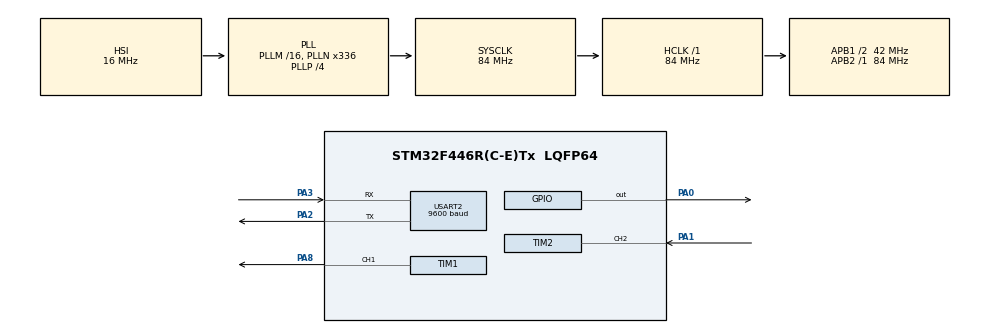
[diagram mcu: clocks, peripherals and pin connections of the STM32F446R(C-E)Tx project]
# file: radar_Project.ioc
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Mcu.Family=STM32F4
Mcu.Name=STM32F446R(C-E)Tx
Mcu.Package=LQFP64
NVIC.PriorityGroup=NVIC_PRIORITYGROUP_0
PA0-WKUP.Signal=GPIO_Output
PA1.Signal=S_TIM2_CH2
PA13.Mode=Serial_Wire
PA13.Signal=SYS_JTMS-SWDIO
PA14.Mode=Serial_Wire
PA14.Signal=SYS_JTCK-SWCLK
PA2.Mode=Asynchronous
PA2.Signal=USART2_TX
PA3.Mode=Asynchronous
PA3.Signal=USART2_RX
PA8.Signal=S_TIM1_CH1
ProjectManager.HeapSize=0x200
ProjectManager.StackSize=0x400
ProjectManager.TargetToolchain=STM32CubeIDE
RCC.48MHZClocksFreq_Value=84000000
RCC.AHBFreq_Value=84000000
RCC.APB1CLKDivider=RCC_HCLK_DIV2
RCC.APB1Freq_Value=42000000
RCC.APB1TimFreq_Value=84000000
RCC.APB2Freq_Value=84000000
RCC.APB2TimFreq_Value=84000000
RCC.CortexFreq_Value=84000000
RCC.FLatency-AdvancedSettings=FLASH_LATENCY_2
RCC.HCLKFreq_Value=84000000
RCC.HSE_VALUE=8000000
RCC.HSI_VALUE=16000000
RCC.PLLN=336
RCC.PLLP=RCC_PLLP_DIV4
RCC.SYSCLKFreq_VALUE=84000000
RCC.SYSCLKSource=RCC_SYSCLKSOURCE_PLLCLK
RCC.USBFreq_Value=168000000
RCC.VCOOutputFreq_Value=336000000
SH.S_TIM1_CH1.0=TIM1_CH1,PWM Generation1 CH1
SH.S_TIM2_CH2.0=TIM2_CH2,Input_Capture2_from_TI2
TIM1.Channel-PWM\ Generation1\ CH1=TIM_CHANNEL_1
TIM1.Period=20000-1
TIM1.Prescaler=84-1
TIM2.Channel-Input_Capture2_from_TI2=TIM_CHANNEL_2
TIM2.Period=20000-1
TIM2.Prescaler=84-1
USART2.BaudRate=9600
USART2.VirtualMode=VM_ASYNC
board=NUCLEO-F446RE

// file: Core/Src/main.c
/* USER CODE BEGIN Header */
/**
  ******************************************************************************
  * @file           : main.c
  * @brief          : Main program body
  ******************************************************************************
  * @attention
  *
  * Copyright (c) 2026 STMicroelectronics.
  * All rights reserved.
  *
  * This software is licensed under terms that can be found in the LICENSE file
  * in the root directory of this software component.
  * If no LICENSE file comes with this software, it is provided AS-IS.
  *
  ******************************************************************************
  */
/* USER CODE END Header */
#include "main.h"

TIM_HandleTypeDef htim1;
TIM_HandleTypeDef htim2;

UART_HandleTypeDef huart2;

void SystemClock_Config(void);
static void MX_GPIO_Init(void);
static void MX_USART2_UART_Init(void);
static void MX_TIM1_Init(void);
static void MX_TIM2_Init(void);
/* USER CODE BEGIN PFP */
// Ultrasonic
#define TRIG_PIN GPIO_PIN_0
#define TRIG_PORT GPIOA

volatile uint32_t echo_start = 0;
volatile uint32_t echo_end = 0;
volatile uint8_t capture_done = 0;

float distance_cm;

// Servo
#define SERVO_TIM htim1
#define SERVO_CHANNEL TIM_CHANNEL_1

uint8_t angle = 15; // start angle
int sweep_direction = 1; // 1: forward, -1: backward

uint32_t angle_to_pwm(uint8_t angle) {
    return 500 + ((uint32_t)angle * 2000 / 180);
}

void trigger_ultrasonic() {
	HAL_GPIO_WritePin(TRIG_PORT, TRIG_PIN, GPIO_PIN_SET);
	    // Delay 10 microseconds
	    for(volatile int i=0; i<30; i++); // crude ~10us delay
	    HAL_GPIO_WritePin(TRIG_PORT, TRIG_PIN, GPIO_PIN_RESET);
}

float calculate_distance(uint32_t duration_us) {
    return (duration_us * 0.034) / 2.0;
}

void send_data(uint8_t angle, float distance) {
    char buffer[30];
    sprintf(buffer, "%d,%.0f.", angle, distance);
    HAL_UART_Transmit(&huart2, (uint8_t*)buffer, strlen(buffer), HAL_MAX_DELAY);
}

/* USER CODE END PFP */

int main(void)
{

  /* MCU Configuration--------------------------------------------------------*/

  /* Reset of all peripherals, Initializes the Flash interface and the Systick. */
  HAL_Init();

  /* Configure the system clock */
  SystemClock_Config();

  /* Initialize all configured peripherals */
  MX_GPIO_Init();
  MX_USART2_UART_Init();
  MX_TIM1_Init();
  MX_TIM2_Init();
  /* USER CODE BEGIN 2 */
  HAL_TIM_PWM_Start(&SERVO_TIM, SERVO_CHANNEL);
  HAL_TIM_IC_Start_IT(&htim2, TIM_CHANNEL_2);

  /* USER CODE END 2 */

  /* Infinite loop */
  while (1)
  {

    /* USER CODE BEGIN 3 */
 printf("jjs");
	      // 1. Move servo
	      __HAL_TIM_SET_COMPARE(&SERVO_TIM, SERVO_CHANNEL, angle_to_pwm(angle));

	      // 2. Trigger Ultrasonic
	      trigger_ultrasonic();

	      HAL_Delay(30);

	      // Wait until echo captured
	      while(!capture_done);
	      capture_done = 0;

	      // 3. Send data
	      send_data(angle, distance_cm);

	      // 4. Update angle
	      if(sweep_direction == 1) {
	          angle++;
	          if(angle >= 165) sweep_direction = -1;
	      } else {
	          angle--;
	          if(angle <= 15) sweep_direction = 1;
	      }

  }
  /* USER CODE END 3 */
}

void SystemClock_Config(void)
{
  RCC_OscInitTypeDef RCC_OscInitStruct = {0};
  RCC_ClkInitTypeDef RCC_ClkInitStruct = {0};

  /** Configure the main internal regulator output voltage
  */
  __HAL_RCC_PWR_CLK_ENABLE();
  __HAL_PWR_VOLTAGESCALING_CONFIG(PWR_REGULATOR_VOLTAGE_SCALE3);

  /** Initializes the RCC Oscillators according to the specified parameters
  * in the RCC_OscInitTypeDef structure.
  */
  RCC_OscInitStruct.OscillatorType = RCC_OSCILLATORTYPE_HSI;
  RCC_OscInitStruct.HSIState = RCC_HSI_ON;
  RCC_OscInitStruct.HSICalibrationValue = RCC_HSICALIBRATION_DEFAULT;
  RCC_OscInitStruct.PLL.PLLState = RCC_PLL_ON;
  RCC_OscInitStruct.PLL.PLLSource = RCC_PLLSOURCE_HSI;
  RCC_OscInitStruct.PLL.PLLM = 16;
  RCC_OscInitStruct.PLL.PLLN = 336;
  RCC_OscInitStruct.PLL.PLLP = RCC_PLLP_DIV4;
  RCC_OscInitStruct.PLL.PLLQ = 2;
  RCC_OscInitStruct.PLL.PLLR = 2;
  if (HAL_RCC_OscConfig(&RCC_OscInitStruct) != HAL_OK)
  {
    Error_Handler();
  }

  /** Initializes the CPU, AHB and APB buses clocks
  */
  RCC_ClkInitStruct.ClockType = RCC_CLOCKTYPE_HCLK|RCC_CLOCKTYPE_SYSCLK
                              |RCC_CLOCKTYPE_PCLK1|RCC_CLOCKTYPE_PCLK2;
  RCC_ClkInitStruct.SYSCLKSource = RCC_SYSCLKSOURCE_PLLCLK;
  RCC_ClkInitStruct.AHBCLKDivider = RCC_SYSCLK_DIV1;
  RCC_ClkInitStruct.APB1CLKDivider = RCC_HCLK_DIV2;
  RCC_ClkInitStruct.APB2CLKDivider = RCC_HCLK_DIV1;

  if (HAL_RCC_ClockConfig(&RCC_ClkInitStruct, FLASH_LATENCY_2) != HAL_OK)
  {
    Error_Handler();
  }
}

static void MX_TIM1_Init(void)
{

  TIM_MasterConfigTypeDef sMasterConfig = {0};
  TIM_OC_InitTypeDef sConfigOC = {0};
  TIM_BreakDeadTimeConfigTypeDef sBreakDeadTimeConfig = {0};

  htim1.Instance = TIM1;
  htim1.Init.Prescaler = 84-1;
  htim1.Init.CounterMode = TIM_COUNTERMODE_UP;
  htim1.Init.Period = 20000-1;
  htim1.Init.ClockDivision = TIM_CLOCKDIVISION_DIV1;
  htim1.Init.RepetitionCounter = 0;
  htim1.Init.AutoReloadPreload = TIM_AUTORELOAD_PRELOAD_DISABLE;
  if (HAL_TIM_PWM_Init(&htim1) != HAL_OK)
  {
    Error_Handler();
  }
  sMasterConfig.MasterOutputTrigger = TIM_TRGO_RESET;
  sMasterConfig.MasterSlaveMode = TIM_MASTERSLAVEMODE_DISABLE;
  if (HAL_TIMEx_MasterConfigSynchronization(&htim1, &sMasterConfig) != HAL_OK)
  {
    Error_Handler();
  }
  sConfigOC.OCMode = TIM_OCMODE_PWM1;
  sConfigOC.Pulse = 0;
  sConfigOC.OCPolarity = TIM_OCPOLARITY_HIGH;
  sConfigOC.OCNPolarity = TIM_OCNPOLARITY_HIGH;
  sConfigOC.OCFastMode = TIM_OCFAST_DISABLE;
  sConfigOC.OCIdleState = TIM_OCIDLESTATE_RESET;
  sConfigOC.OCNIdleState = TIM_OCNIDLESTATE_RESET;
  if (HAL_TIM_PWM_ConfigChannel(&htim1, &sConfigOC, TIM_CHANNEL_1) != HAL_OK)
  {
    Error_Handler();
  }
  sBreakDeadTimeConfig.OffStateRunMode = TIM_OSSR_DISABLE;
  sBreakDeadTimeConfig.OffStateIDLEMode = TIM_OSSI_DISABLE;
  sBreakDeadTimeConfig.LockLevel = TIM_LOCKLEVEL_OFF;
  sBreakDeadTimeConfig.DeadTime = 0;
  sBreakDeadTimeConfig.BreakState = TIM_BREAK_DISABLE;
  sBreakDeadTimeConfig.BreakPolarity = TIM_BREAKPOLARITY_HIGH;
  sBreakDeadTimeConfig.AutomaticOutput = TIM_AUTOMATICOUTPUT_DISABLE;
  if (HAL_TIMEx_ConfigBreakDeadTime(&htim1, &sBreakDeadTimeConfig) != HAL_OK)
  {
    Error_Handler();
  }
  HAL_TIM_MspPostInit(&htim1);

}

static void MX_TIM2_Init(void)
{

  TIM_MasterConfigTypeDef sMasterConfig = {0};
  TIM_IC_InitTypeDef sConfigIC = {0};

  htim2.Instance = TIM2;
  htim2.Init.Prescaler = 84-1;
  htim2.Init.CounterMode = TIM_COUNTERMODE_UP;
  htim2.Init.Period = 20000-1;
  htim2.Init.ClockDivision = TIM_CLOCKDIVISION_DIV1;
  htim2.Init.AutoReloadPreload = TIM_AUTORELOAD_PRELOAD_DISABLE;
  if (HAL_TIM_IC_Init(&htim2) != HAL_OK)
  {
    Error_Handler();
  }
  sMasterConfig.MasterOutputTrigger = TIM_TRGO_RESET;
  sMasterConfig.MasterSlaveMode = TIM_MASTERSLAVEMODE_DISABLE;
  if (HAL_TIMEx_MasterConfigSynchronization(&htim2, &sMasterConfig) != HAL_OK)
  {
    Error_Handler();
  }
  sConfigIC.ICPolarity = TIM_INPUTCHANNELPOLARITY_BOTHEDGE;
  sConfigIC.ICSelection = TIM_ICSELECTION_DIRECTTI;
  sConfigIC.ICPrescaler = TIM_ICPSC_DIV1;
  sConfigIC.ICFilter = 0;
  if (HAL_TIM_IC_ConfigChannel(&htim2, &sConfigIC, TIM_CHANNEL_2) != HAL_OK)
  {
    Error_Handler();
  }

}

static void MX_USART2_UART_Init(void)
{

  huart2.Instance = USART2;
  huart2.Init.BaudRate = 9600;
  huart2.Init.WordLength = UART_WORDLENGTH_8B;
  huart2.Init.StopBits = UART_STOPBITS_1;
  huart2.Init.Parity = UART_PARITY_NONE;
  huart2.Init.Mode = UART_MODE_TX_RX;
  huart2.Init.HwFlowCtl = UART_HWCONTROL_NONE;
  huart2.Init.OverSampling = UART_OVERSAMPLING_16;
  if (HAL_UART_Init(&huart2) != HAL_OK)
  {
    Error_Handler();
  }

}

static void MX_GPIO_Init(void)
{
  GPIO_InitTypeDef GPIO_InitStruct = {0};

  /* GPIO Ports Clock Enable */
  __HAL_RCC_GPIOA_CLK_ENABLE();

  /*Configure GPIO pin Output Level */
  HAL_GPIO_WritePin(GPIOA, GPIO_PIN_0, GPIO_PIN_RESET);

  /*Configure GPIO pin : PA0 */
  GPIO_InitStruct.Pin = GPIO_PIN_0;
  GPIO_InitStruct.Mode = GPIO_MODE_OUTPUT_PP;
  GPIO_InitStruct.Pull = GPIO_NOPULL;
  GPIO_InitStruct.Speed = GPIO_SPEED_FREQ_LOW;
  HAL_GPIO_Init(GPIOA, &GPIO_InitStruct);

  /* USER CODE BEGIN MX_GPIO_Init_2 */
  // Configure Echo pin (PA1) as input
  GPIO_InitStruct.Pin = GPIO_PIN_1;
  GPIO_InitStruct.Mode = GPIO_MODE_INPUT;
  GPIO_InitStruct.Pull = GPIO_NOPULL;
  HAL_GPIO_Init(GPIOA, &GPIO_InitStruct);

  /* USER CODE END MX_GPIO_Init_2 */
}

/* USER CODE BEGIN 4 */
void HAL_TIM_IC_CaptureCallback(TIM_HandleTypeDef *htim) {
    if(htim->Instance == TIM2 && htim->Channel == HAL_TIM_ACTIVE_CHANNEL_2) {
        if(HAL_GPIO_ReadPin(GPIOA, GPIO_PIN_1)) { // Rising edge
            echo_start = HAL_TIM_ReadCapturedValue(htim, TIM_CHANNEL_2);
        } else { // Falling edge
            echo_end = HAL_TIM_ReadCapturedValue(htim, TIM_CHANNEL_2);
            uint32_t duration;
            if(echo_end >= echo_start) {
                duration = echo_end - echo_start;
            } else {
                duration = (0xFFFF - echo_start) + echo_end;
            }
            distance_cm = calculate_distance(duration);
            capture_done = 1;
        }
    }
}

/* USER CODE END 4 */

void Error_Handler(void)
{
  __disable_irq();
  while (1)
  {
  }
}
